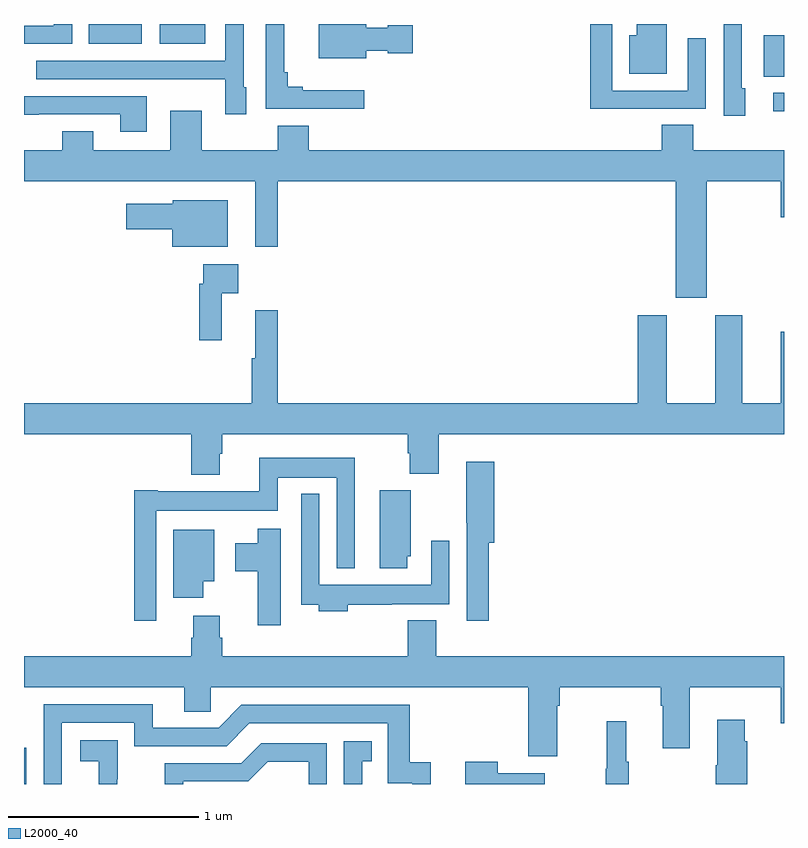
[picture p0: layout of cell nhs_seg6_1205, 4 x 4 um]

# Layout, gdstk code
import gdstk
lib = gdstk.Library(unit=1e-6, precision=1e-09)
def R(c, l, rs):  # rectangles x0, y0, x1, y1
    for r in rs: c.add(gdstk.rectangle(r[:2], r[2:], *l))
def P(c, l, *ps):  # polygons
    for p in ps: c.add(gdstk.Polygon(p, *l))
L2000_40 = (2000, 40)

nhs_seg6_1205 = lib.new_cell('nhs_seg6_1205')
R(nhs_seg6_1205, L2000_40, [(185,941.5,185.013,941.691), (188.943,945.041,189,945.138), (188.894,945.223,189,945.442), (185.342,945.395,185.62,945.5), (185.714,945.395,185.953,945.5)])
P(nhs_seg6_1205, L2000_40, [(188.273,945.054),(188.589,945.054),(188.589,945.424),(188.493,945.424),(188.493,945.15),(188.097,945.15),(188.097,945.5),(187.981,945.5),(187.981,945.053),(188.273,945.053)],
  [(186.169,945.168),(186.156,945.168),(186.156,945.5),(186.06,945.5),(186.06,945.306),(185.065,945.306),(185.065,945.21),(185.743,945.21),(185.743,945.209),(186.06,945.209),(186.06,945.024),(186.169,945.024)],
  [(186.802,945.359),(186.915,945.359),(186.915,945.347),(187.045,945.347),(187.045,945.494),(186.915,945.494),(186.915,945.481),(186.802,945.481),(186.802,945.5),(186.551,945.5),(186.551,945.32),(186.802,945.32)],
  [(186.79,945.151),(186.466,945.151),(186.466,945.17),(186.389,945.17),(186.389,945.247),(186.371,945.247),(186.371,945.5),(186.273,945.5),(186.273,945.054),(186.79,945.054)],
  [(185.253,945.5),(185.157,945.5),(185.157,945.492),(185,945.492),(185,945.396),(185.253,945.396)],
  [(188.797,945.162),(188.778,945.162),(188.778,945.5),(188.682,945.5),(188.682,945.018),(188.797,945.018)],
  [(188.383,945.5),(188.225,945.5),(188.225,945.442),(188.186,945.442),(188.186,945.239),(188.383,945.239)],
  [(185.647,945.12),(185,945.12),(185,945.023),(185.077,945.023),(185.077,945.024),(185.507,945.024),(185.507,944.934),(185.647,944.934)],
  [(188.593,944.672),(188.984,944.672),(188.984,944.484),(189,944.484),(189,944.836),(188.522,944.836),(188.522,944.969),(188.357,944.969),(188.357,944.836),(186.499,944.836),(186.499,944.965),(186.335,944.965),(186.335,944.836),(185.935,944.836),(185.935,945.043),(185.771,945.043),(185.771,944.836),(185.365,944.836),(185.365,944.935),(185.201,944.935),(185.201,944.836),(185,944.836),(185,944.672),(186.218,944.672),(186.218,944.328),(186.335,944.328),(186.335,944.672),(188.429,944.672),(188.429,944.058),(188.593,944.058)],
  [(186.073,944.572),(185.784,944.572),(185.784,944.554),(185.538,944.554),(185.538,944.42),(185.78,944.42),(185.78,944.327),(186.073,944.327)],
  [(186.041,944.084),(186.127,944.084),(186.127,944.236),(185.943,944.236),(185.943,944.132),(185.923,944.132),(185.923,943.836),(186.041,943.836)],
  [(186.335,943.993),(186.218,943.993),(186.218,943.74),(186.199,943.74),(186.199,943.504),(185,943.504),(185,943.34),(185.879,943.34),(185.879,943.127),(186.031,943.127),(186.031,943.239),(186.044,943.239),(186.044,943.34),(187.019,943.34),(187.019,943.241),(187.031,943.241),(187.031,943.132),(187.184,943.132),(187.184,943.34),(189,943.34),(189,943.879),(188.984,943.879),(188.984,943.504),(188.779,943.504),(188.779,943.966),(188.639,943.966),(188.639,943.504),(188.383,943.504),(188.383,943.966),(188.231,943.966),(188.231,943.504),(186.335,943.504)],
  [(185.697,942.938),(186.336,942.938),(186.336,943.112),(186.645,943.112),(186.645,942.635),(186.742,942.635),(186.742,943.216),(186.239,943.216),(186.239,943.042),(185.704,943.042),(185.704,943.045),(185.581,943.045),(185.581,942.36),(185.697,942.36)],
  [(187.445,942.77),(187.475,942.77),(187.475,943.195),(187.328,943.195),(187.328,942.874),(187.329,942.874),(187.329,942.36),(187.445,942.36)],
  [(187.018,942.699),(187.036,942.699),(187.036,943.047),(186.872,943.047),(186.872,942.636),(187.018,942.636)],
  [(186.704,942.444),(186.935,942.444),(186.935,942.446),(187.239,942.446),(187.239,942.781),(187.143,942.781),(187.143,942.55),(186.555,942.55),(186.555,943.027),(186.459,943.027),(186.459,942.444),(186.551,942.444),(186.551,942.41),(186.704,942.41)],
  [(186.352,942.844),(186.23,942.844),(186.23,942.766),(186.113,942.766),(186.113,942.619),(186.23,942.619),(186.23,942.336),(186.352,942.336)],
  [(185.944,942.566),(186.001,942.566),(186.001,942.838),(185.786,942.838),(185.786,942.48),(185.944,942.48)],
  [(187.807,941.912),(187.82,941.912),(187.82,942.008),(188.351,942.008),(188.351,941.912),(188.363,941.912),(188.363,941.688),(188.503,941.688),(188.503,942.008),(188.984,942.008),(188.984,941.82),(189,941.82),(189,942.172),(187.171,942.172),(187.171,942.361),(187.019,942.361),(187.019,942.172),(186.044,942.172),(186.044,942.27),(186.031,942.27),(186.031,942.385),(185.891,942.385),(185.891,942.27),(185.879,942.27),(185.879,942.172),(185,942.172),(185,942.008),(185.843,942.008),(185.843,941.881),(185.982,941.881),(185.982,942.008),(187.655,942.008),(187.655,941.646),(187.807,941.646)],
  [(185.199,941.823),(185.58,941.823),(185.58,941.7),(186.066,941.7),(186.186,941.82),(186.915,941.82),(186.915,941.505),(187.044,941.505),(187.044,941.5),(187.142,941.5),(187.142,941.614),(187.031,941.614),(187.031,941.916),(186.144,941.916),(186.024,941.796),(185.677,941.796),(185.677,941.919),(185.103,941.919),(185.103,941.5),(185.199,941.5)],
  [(188.807,941.726),(188.794,941.726),(188.794,941.839),(188.648,941.839),(188.648,941.6),(188.641,941.6),(188.641,941.5),(188.807,941.5)],
  [(188.182,941.617),(188.171,941.617),(188.171,941.83),(188.068,941.83),(188.068,941.58),(188.061,941.58),(188.061,941.5),(188.182,941.5)],
  [(185.492,941.525),(185.493,941.525),(185.493,941.731),(185.295,941.731),(185.295,941.621),(185.393,941.621),(185.393,941.5),(185.492,941.5)],
  [(186.781,941.619),(186.83,941.619),(186.83,941.725),(186.684,941.725),(186.684,941.5),(186.781,941.5)],
  [(185.838,941.514),(186.18,941.514),(186.284,941.618),(186.498,941.618),(186.498,941.5),(186.594,941.5),(186.594,941.715),(186.248,941.715),(186.143,941.61),(185.74,941.61),(185.74,941.5),(185.838,941.5)],
  [(187.741,941.557),(187.493,941.557),(187.493,941.617),(187.322,941.617),(187.322,941.5),(187.741,941.5)])

lib.write_gds('nhs_seg6_1205.gds')
